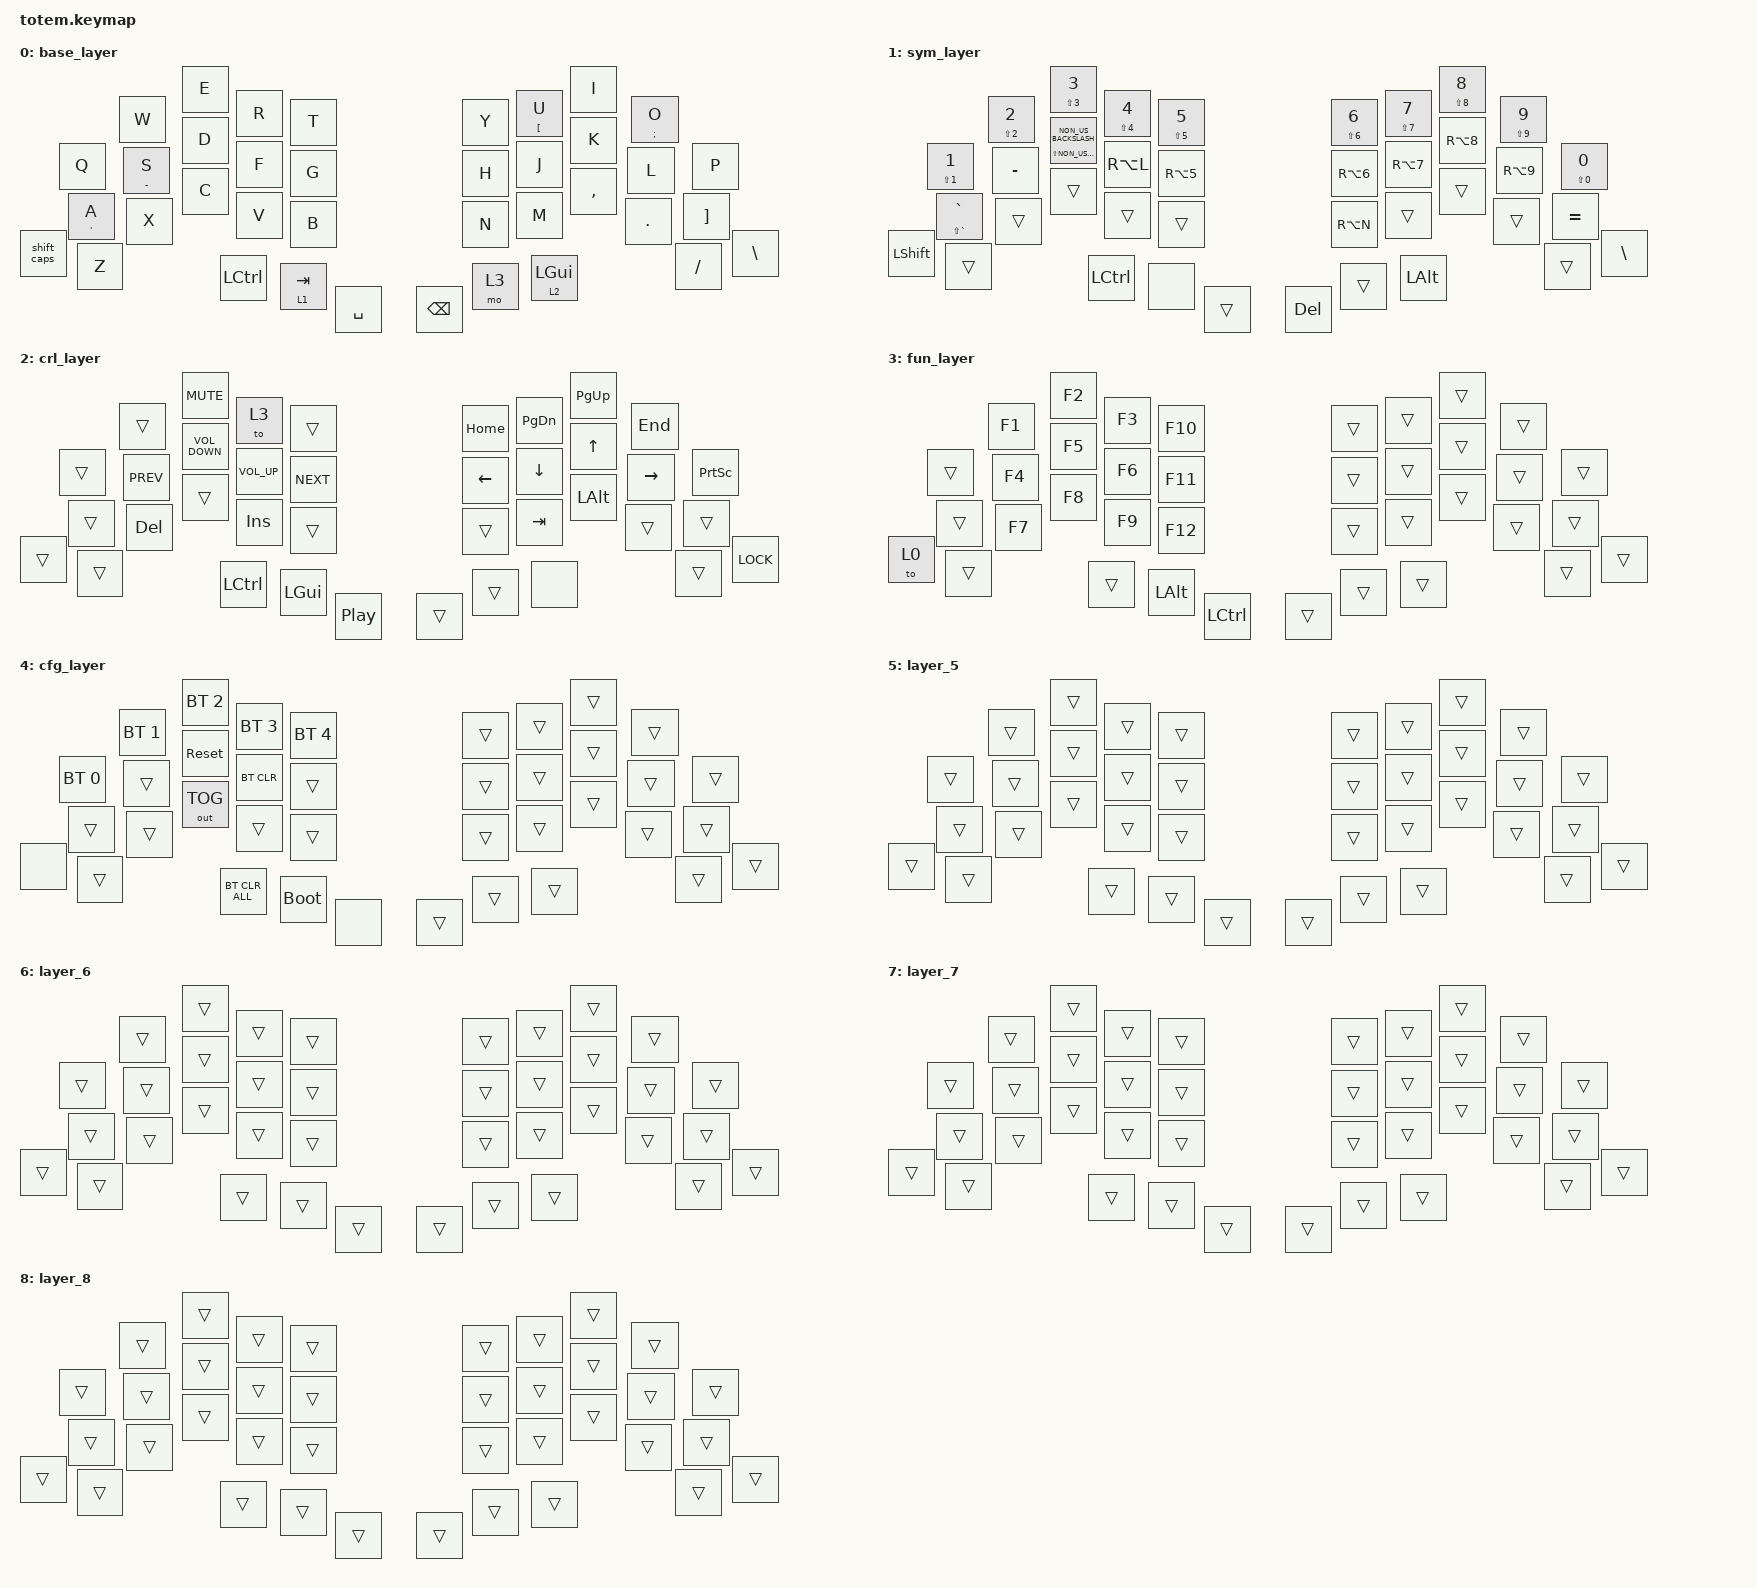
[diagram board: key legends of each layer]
#include <dt-bindings/zmk/mouse.h>
#include <behaviors.dtsi>
#include <dt-bindings/zmk/bt.h>
#include <dt-bindings/zmk/keys.h>
#include <dt-bindings/zmk/outputs.h>

#define BASE 0
#define CODE 1
#define NAV  2
#define MOD  3
#define ADJ  4

&mt { flavor = "balanced"; };

/ {
    combos {
        compatible = "zmk,combos";

        combo_esc {
            timeout-ms = <50>;
            key-positions = <0 1>;
            bindings = <&kp ESC>;
        };

        combo_ret {
            bindings = <&kp RET>;
            key-positions = <8 9>;
        };

        combo_mo_cfg {
            bindings = <&mo 4>;
            key-positions = <34 20>;
        };
    };

    behaviors {
        shift_caps: shift_caps {
            compatible = "zmk,behavior-tap-dance";
            label = "SHIFT_CAPS";
            #binding-cells = <0>;
            bindings = <&kp LSHIFT>, <&kp CAPSLOCK>;
        };

        // use below with a dummy value for first parameter: &alt_tab 0 RET
    };

    keymap {
        compatible = "zmk,keymap";

        base_layer {
            bindings = <
             &kp Q       &kp W        &kp E      &kp R      &kp T        &kp Y     &mt LEFT_BRACKET U  &kp I       &mt SEMI O  &kp P
             &mt APOS A  &mt MINUS S  &kp D      &kp F      &kp G        &kp H     &kp J               &kp K       &kp L       &kp RIGHT_BRACKET
&shift_caps  &kp Z       &kp X        &kp C      &kp V      &kp B        &kp N     &kp M               &kp COMMA   &kp DOT     &kp SLASH          &kp BACKSLASH
                                      &kp LCTRL  &lt 1 TAB  &kp SPACE    &kp BSPC  &mo 3               &lt 2 LGUI
            >;
        };

        sym_layer {
            bindings = <
            &mt LS(N1) N1        &mt LS(N2) N2  &mt LS(N3) N3                              &mt LS(N4) N4  &mt LS(N5) N5    &mt LS(N6) N6  &mt LS(N7) N7  &mt LS(N8) N8  &mt LS(N9) N9  &mt LS(N0) N0
            &mt LS(GRAVE) GRAVE  &kp MINUS      &mt LS(NON_US_BACKSLASH) NON_US_BACKSLASH  &kp RA(L)      &kp RA(N5)       &kp RA(N6)     &kp RA(N7)     &kp RA(N8)     &kp RA(N9)     &kp EQUAL
&kp LSHIFT  &trans               &trans         &trans                                     &trans         &trans           &kp RA(N)      &trans         &trans         &trans         &trans         &kp BACKSLASH
                                                &kp LCTRL                                  &none          &trans           &kp DEL        &trans         &kp LEFT_ALT
            >;
        };

        crl_layer {
            bindings = <
        &trans  &trans      &kp C_MUTE         &to 3         &trans              &kp HOME  &kp PG_DN  &kp PG_UP  &kp END    &kp PRINTSCREEN
        &trans  &kp C_PREV  &kp C_VOLUME_DOWN  &kp C_VOL_UP  &kp C_NEXT          &kp LEFT  &kp DOWN   &kp UP     &kp RIGHT  &trans
&trans  &trans  &kp DELETE  &trans             &kp INS       &trans              &trans    &kp TAB    &kp LALT   &trans     &trans           &kp K_LOCK
                            &kp LCTRL          &kp LEFT_GUI  &kp C_PLAY_PAUSE    &trans    &trans     &none
            >;
        };

        fun_layer {
            bindings = <
       &trans  &kp F1  &kp F2  &kp F3    &kp F10      &trans  &trans  &trans  &trans  &trans
       &trans  &kp F4  &kp F5  &kp F6    &kp F11      &trans  &trans  &trans  &trans  &trans
&to 0  &trans  &kp F7  &kp F8  &kp F9    &kp F12      &trans  &trans  &trans  &trans  &trans  &trans
                       &trans  &kp LALT  &kp LCTRL    &trans  &trans  &trans
            >;
        };

        cfg_layer {
            bindings = <
       &bt BT_SEL 0  &bt BT_SEL 1  &bt BT_SEL 2    &bt BT_SEL 3  &bt BT_SEL 4    &trans  &trans  &trans  &trans  &trans
       &trans        &trans        &sys_reset      &bt BT_CLR    &trans          &trans  &trans  &trans  &trans  &trans
&none  &trans        &trans        &out OUT_TOG    &trans        &trans          &trans  &trans  &trans  &trans  &trans  &trans
                                   &bt BT_CLR_ALL  &bootloader   &none           &trans  &trans  &trans
            >;
        };

        layer_5 {
            bindings = <
        &trans  &trans  &trans  &trans  &trans    &trans  &trans  &trans  &trans  &trans
        &trans  &trans  &trans  &trans  &trans    &trans  &trans  &trans  &trans  &trans
&trans  &trans  &trans  &trans  &trans  &trans    &trans  &trans  &trans  &trans  &trans  &trans
                        &trans  &trans  &trans    &trans  &trans  &trans
            >;
        };

        layer_6 {
            bindings = <
        &trans  &trans  &trans  &trans  &trans    &trans  &trans  &trans  &trans  &trans
        &trans  &trans  &trans  &trans  &trans    &trans  &trans  &trans  &trans  &trans
&trans  &trans  &trans  &trans  &trans  &trans    &trans  &trans  &trans  &trans  &trans  &trans
                        &trans  &trans  &trans    &trans  &trans  &trans
            >;
        };

        layer_7 {
            bindings = <
        &trans  &trans  &trans  &trans  &trans    &trans  &trans  &trans  &trans  &trans
        &trans  &trans  &trans  &trans  &trans    &trans  &trans  &trans  &trans  &trans
&trans  &trans  &trans  &trans  &trans  &trans    &trans  &trans  &trans  &trans  &trans  &trans
                        &trans  &trans  &trans    &trans  &trans  &trans
            >;
        };

        layer_8 {
            bindings = <
        &trans  &trans  &trans  &trans  &trans    &trans  &trans  &trans  &trans  &trans
        &trans  &trans  &trans  &trans  &trans    &trans  &trans  &trans  &trans  &trans
&trans  &trans  &trans  &trans  &trans  &trans    &trans  &trans  &trans  &trans  &trans  &trans
                        &trans  &trans  &trans    &trans  &trans  &trans
            >;
        };
    };
};
